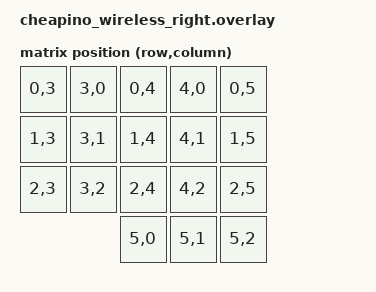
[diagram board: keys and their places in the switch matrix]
/*
 * Copyright (c) 2024 The ZMK Contributors
 *
 * SPDX-License-Identifier: MIT
 */

#include <dt-bindings/zmk/matrix_transform.h>

/ {
    chosen {
        zmk,kscan = &kscan_right;
        zmk,matrix-transform = &right_transform;
    };

    right_transform: keymap_transform_right {
        compatible = "zmk,matrix-transform";
        columns = <6>;
        rows = <6>;
        /* RC indices are wired RC(6..11, 6..11) remapped to RC(0..5, 0..5) */
        map = <
            RC(0,3) RC(3,0) RC(0,4) RC(4,0) RC(0,5)   /* top row    pos 0–4  */
            RC(1,3) RC(3,1) RC(1,4) RC(4,1) RC(1,5)   /* middle row pos 5–9  */
            RC(2,3) RC(3,2) RC(2,4) RC(4,2) RC(2,5)   /* bottom row pos 10–14 */
                            RC(5,0) RC(5,1) RC(5,2)   /* thumbs     pos 15–17 */
        >;
    };

    /* TODO: GPIO pins are placeholders — verify right-half MCU pinout from schematic */
    kscan_right: kscan_right {
        compatible = "zmk,kscan-gpio-charlieplex";
        gpios
            = <&pro_micro 6 (GPIO_ACTIVE_HIGH | GPIO_PULL_DOWN)>
            , <&pro_micro 5 (GPIO_ACTIVE_HIGH | GPIO_PULL_DOWN)>
            , <&pro_micro 4 (GPIO_ACTIVE_HIGH | GPIO_PULL_DOWN)>
            , <&pro_micro 9 (GPIO_ACTIVE_HIGH | GPIO_PULL_DOWN)>
            , <&pro_micro 8 (GPIO_ACTIVE_HIGH | GPIO_PULL_DOWN)>
            , <&pro_micro 7 (GPIO_ACTIVE_HIGH | GPIO_PULL_DOWN)>
            ;
    };
};
